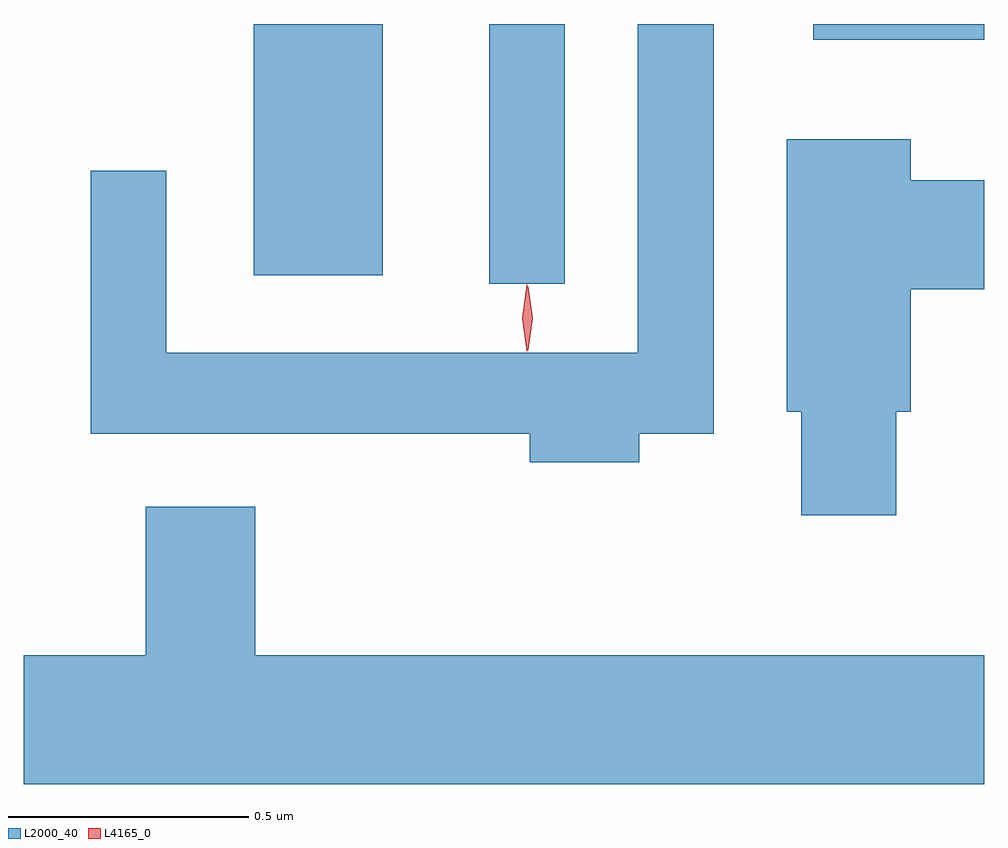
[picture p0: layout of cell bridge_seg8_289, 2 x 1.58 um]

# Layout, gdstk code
import gdstk
lib = gdstk.Library(unit=1e-6, precision=1e-09)
def R(c, l, rs):  # rectangles x0, y0, x1, y1
    for r in rs: c.add(gdstk.rectangle(r[:2], r[2:], *l))
def P(c, l, *ps):  # polygons
    for p in ps: c.add(gdstk.Polygon(p, *l))
L2000_40 = (2000, 40)
L4165_0 = (4165, 0)

bridge_seg8_289 = lib.new_cell('bridge_seg8_289')
R(bridge_seg8_289, L2000_40, [(1317.986,1815.258,1318.144,1815.799), (1317.496,1815.276,1317.764,1815.799), (1318.661,1815.766,1319.017,1815.799)])
P(bridge_seg8_289, L2000_40, [(1318.299,1814.946),(1318.454,1814.946),(1318.454,1815.799),(1318.296,1815.799),(1318.296,1815.114),(1317.314,1815.114),(1317.314,1815.493),(1317.156,1815.493),(1317.156,1814.946),(1318.071,1814.946),(1318.071,1814.886),(1318.299,1814.886)],
  [(1318.834,1814.991),(1318.864,1814.991),(1318.864,1815.246),(1319.017,1815.246),(1319.017,1815.474),(1318.864,1815.474),(1318.864,1815.559),(1318.606,1815.559),(1318.606,1814.991),(1318.636,1814.991),(1318.636,1814.776),(1318.834,1814.776)],
  [(1319.017,1814.484),(1317.499,1814.484),(1317.499,1814.794),(1317.271,1814.794),(1317.271,1814.484),(1317.017,1814.484),(1317.017,1814.216),(1319.017,1814.216)])
P(bridge_seg8_289, L4165_0, [(1318.067,1815.119),(1318.066,1815.12),(1318.057,1815.186),(1318.066,1815.252),(1318.067,1815.253),(1318.068,1815.252),(1318.077,1815.186),(1318.068,1815.12)],
  [(1318.064,1815.117),(1318.055,1815.186),(1318.064,1815.256),(1318.065,1815.256),(1318.065,1815.256),(1318.075,1815.186),(1318.065,1815.117),(1318.065,1815.117)])

lib.write_gds('bridge_seg8_289.gds')
